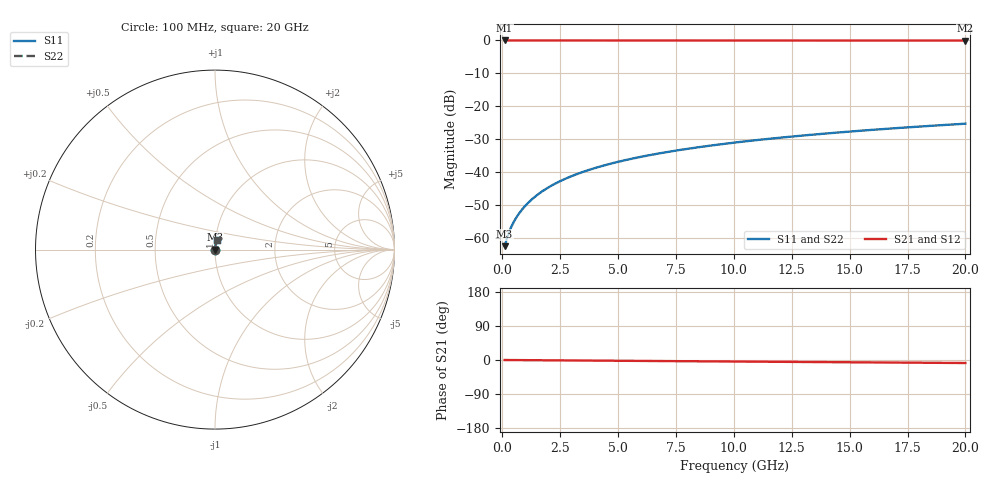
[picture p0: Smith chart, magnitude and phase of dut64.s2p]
! Touchstone file exported from HFSS 2026.1.0
!  File:  C:/ffzhzh/LocalFiles/Ansys_Project_Files/temp_train_BSMRDL_64_1782882765_46784.aedt
!  Generated:  01:14:02 PM Jul  1, 2026
!  Design:  BSMRDL
!  Project:  temp_train_BSMRDL_64_1782882765_46784
! Variables:
!  h_bsmrdl = 3.26um
!  h_ox = 20um
!  h_rdl = 5um
!  h_sub = 80um
!  h_tmrdl = 5um
!  h_tsv = 80um
!  h_via = 3um
!  l_bsmrdl = 101.18um
!  l_sub = 501.18um
!  l_tmrdl = 200um
!  m_sub = 200um
!  pitch = 42.75um
!  r_tsv = 6um
!  s_tmrdl = 10um
!  w_bsmrdl = 29.57um
!  w_sub = 500um
!  w_tmrdl = 12um
!  x_tsv_center1 = 206um
!  x_tsv_center2 = 336.75um
!  x_tsv_center3 = 548.75um
!  x_tsv_center4 = 679.5um
!  x_tsv_center5 = 891.5um
!  x_tsv_center6 = 1022.25um
# GHz S MA R 50.000000
! Terminal data exported
! Port[1] = BSM_RDL1_1_T1
! Port[2] = BSM_RDL1_1_T2
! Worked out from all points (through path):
!   200 points, 100 MHz to 20 GHz, reference 50 ohm
!   highest |S21| = -0.01 dB at 100 MHz (marker M1); lowest = 0.0 dB at 20 GHz (marker M2)
!   group delay of S21, straight-line fit = 1.1 ps
!   lowest |S11| = -62.5 dB at 100 MHz (marker M3), VSWR 1.00, Z = 50.1 + j0.0356 ohm
!   |S11| at or under -10 dB: start of sweep to end of sweep
!   |S22| runs from -62.5 to -25.3 dB; largest |S21 - S12| = 3.4e-15
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0.1  0.0007525 28.2  0.9993 -0.0  0.9993 -0.0  0.0007525 28.2
! Gamma 0 0 0 0
! Port Impedance 50 0 50 0
0.2  0.0009865 44.2  0.9993 -0.1  0.9993 -0.1  0.0009865 44.2
0.3  0.001248 52.8  0.9992 -0.1  0.9992 -0.1  0.001248 52.8
0.4  0.001511 58.3  0.9992 -0.2  0.9992 -0.2  0.001511 58.3
0.5  0.001772 62.2  0.9992 -0.2  0.9992 -0.2  0.001772 62.2
0.6  0.002034 65.3  0.9992 -0.3  0.9992 -0.3  0.002034 65.3
0.8  0.002565 69.8  0.9991 -0.3  0.9991 -0.3  0.002565 69.8
1  0.003106 72.9  0.9991 -0.4  0.9991 -0.4  0.003106 72.9
1.2  0.003655 75.1  0.9991 -0.5  0.9991 -0.5  0.003655 75.1
1.4  0.00421 76.7  0.9991 -0.6  0.9991 -0.6  0.00421 76.7
1.7  0.00505 78.5  0.999 -0.7  0.999 -0.7  0.00505 78.5
2.2  0.006461 80.3  0.999 -0.9  0.999 -0.9  0.006461 80.3
2.8  0.008161 81.5  0.9989 -1.1  0.9989 -1.1  0.008161 81.5
3.5  0.01014 82.3  0.9988 -1.4  0.9988 -1.4  0.01014 82.3
4.2  0.01211 82.7  0.9987 -1.7  0.9987 -1.7  0.01211 82.6
5  0.01436 82.8  0.9986 -2.0  0.9986 -2.0  0.01436 82.8
6.8  0.01935 82.7  0.9983 -2.7  0.9983 -2.7  0.01935 82.7
8.3  0.02345 82.4  0.998 -3.3  0.998 -3.3  0.02345 82.4
10.1  0.02831 81.9  0.9976 -4.1  0.9976 -4.1  0.02831 81.9
13.4  0.03712 81.0  0.9969 -5.4  0.9969 -5.4  0.03712 81.0
16.7  0.04582 80.0  0.9963 -6.7  0.9963 -6.7  0.04582 80.0
20  0.05444 78.9  0.9955 -7.9  0.9955 -7.9  0.05444 78.9
